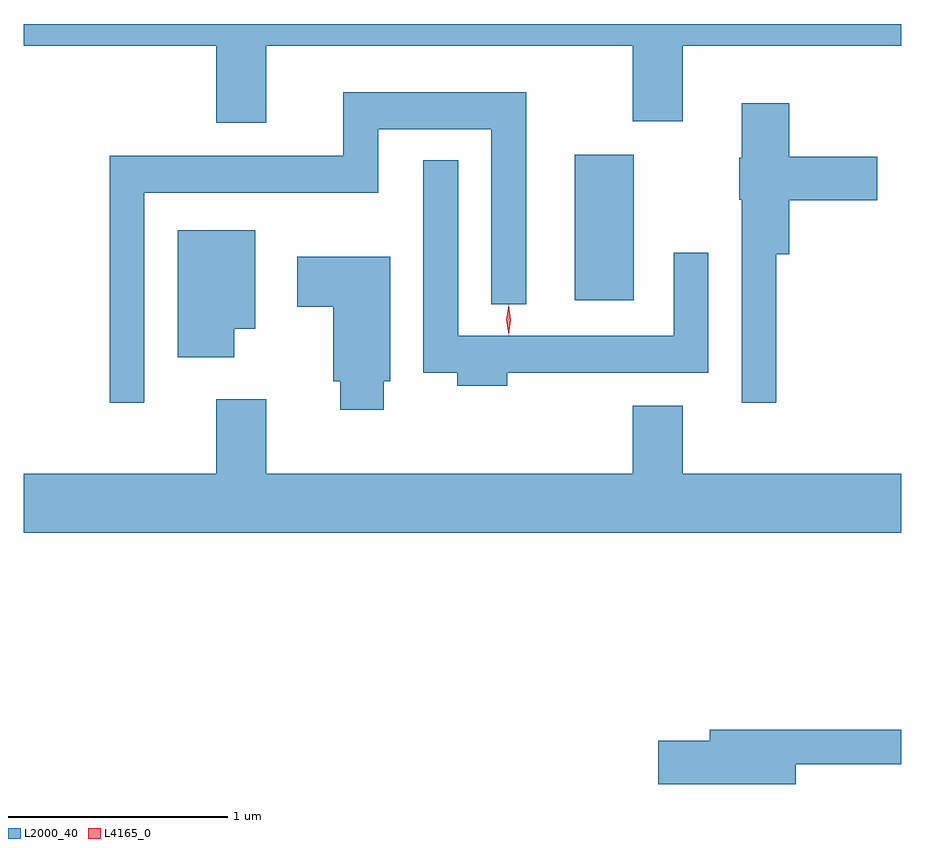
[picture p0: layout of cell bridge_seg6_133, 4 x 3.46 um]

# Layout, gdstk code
import gdstk
lib = gdstk.Library(unit=1e-6, precision=1e-09)
def R(c, l, rs):  # rectangles x0, y0, x1, y1
    for r in rs: c.add(gdstk.rectangle(r[:2], r[2:], *l))
def P(c, l, *ps):  # polygons
    for p in ps: c.add(gdstk.Polygon(p, *l))
L2000_40 = (2000, 40)
L4165_0 = (4165, 0)

bridge_seg6_133 = lib.new_cell('bridge_seg6_133')
R(bridge_seg6_133, L2000_40, [(1223.136,1655.436,1223.404,1656.099)])
P(bridge_seg6_133, L2000_40, [(1221.729,1656.596),(1223.401,1656.596),(1223.401,1656.251),(1223.629,1656.251),(1223.629,1656.596),(1224.624,1656.596),(1224.624,1656.695),(1220.624,1656.695),(1220.624,1656.596),(1221.501,1656.596),(1221.501,1656.246),(1221.729,1656.246)],
  [(1221.174,1655.926),(1222.239,1655.926),(1222.239,1656.216),(1222.756,1656.216),(1222.756,1655.418),(1222.914,1655.418),(1222.914,1656.384),(1222.081,1656.384),(1222.081,1656.094),(1221.016,1656.094),(1221.016,1654.968),(1221.174,1654.968)],
  [(1224.054,1655.646),(1224.114,1655.646),(1224.114,1655.891),(1224.514,1655.891),(1224.514,1656.089),(1224.114,1656.089),(1224.114,1656.334),(1223.896,1656.334),(1223.896,1656.085),(1223.886,1656.085),(1223.886,1655.895),(1223.896,1655.895),(1223.896,1654.968),(1224.054,1654.968)],
  [(1222.829,1655.106),(1223.744,1655.106),(1223.744,1655.653),(1223.586,1655.653),(1223.586,1655.274),(1222.604,1655.274),(1222.604,1656.073),(1222.446,1656.073),(1222.446,1655.106),(1222.601,1655.106),(1222.601,1655.046),(1222.829,1655.046)],
  [(1221.584,1655.306),(1221.679,1655.306),(1221.679,1655.754),(1221.326,1655.754),(1221.326,1655.176),(1221.584,1655.176)],
  [(1222.264,1655.066),(1222.294,1655.066),(1222.294,1655.634),(1221.871,1655.634),(1221.871,1655.406),(1222.036,1655.406),(1222.036,1655.066),(1222.066,1655.066),(1222.066,1654.936),(1222.264,1654.936)],
  [(1224.624,1654.644),(1223.629,1654.644),(1223.629,1654.954),(1223.401,1654.954),(1223.401,1654.644),(1221.729,1654.644),(1221.729,1654.984),(1221.501,1654.984),(1221.501,1654.644),(1220.624,1654.644),(1220.624,1654.376),(1224.624,1654.376)],
  [(1224.144,1653.321),(1224.624,1653.321),(1224.624,1653.479),(1223.751,1653.479),(1223.751,1653.429),(1223.516,1653.429),(1223.516,1653.231),(1224.144,1653.231)])
P(bridge_seg6_133, L4165_0, [(1222.834,1655.277),(1222.834,1655.278),(1222.824,1655.347),(1222.834,1655.416),(1222.834,1655.416),(1222.835,1655.416),(1222.844,1655.347),(1222.835,1655.278)],
  [(1222.834,1655.28),(1222.834,1655.28),(1222.824,1655.346),(1222.834,1655.412),(1222.834,1655.413),(1222.835,1655.412),(1222.844,1655.346),(1222.835,1655.28)])

lib.write_gds('bridge_seg6_133.gds')
